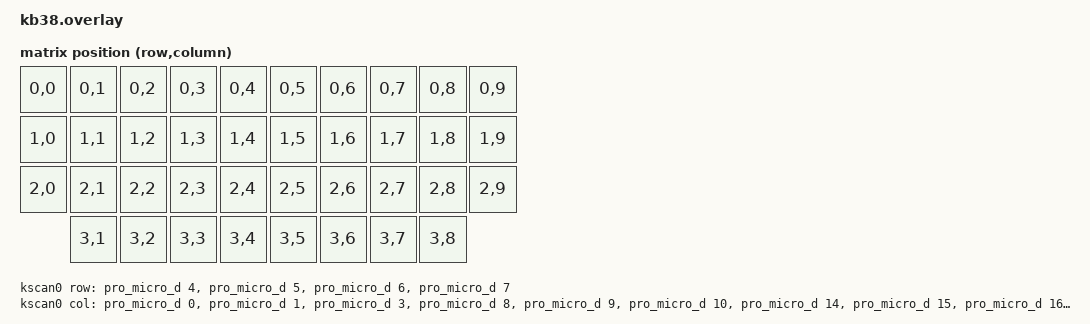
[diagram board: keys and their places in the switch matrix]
/*
 * KB38 device tree overlay
 *
 * Matrix: 4 rows x 10 cols (38 keys), col-to-row diode direction
 * Trackpad: Cirque TM035035 via I2C1 (TWIM1)
 *   SDA = P1.15 (D18), SCL = P0.02 (D19), DR = P0.17 (D2)
 */

#include <dt-bindings/zmk/matrix_transform.h>
#include <dt-bindings/zmk/input_transform.h>
#include <zephyr/dt-bindings/input/input-event-codes.h>

/ {
    chosen {
        zmk,kscan           = &kscan0;
        zmk,matrix_transform = &default_transform;
    };

    /* ── Trackpad input processing ────────────────────────────────────────── */

    xy_transform: xy_transform {
        compatible = "zmk,input-processor-transform";
        #input-processor-cells = <1>;
        type = <INPUT_EV_REL>;
        x-codes = <INPUT_REL_X>;
        y-codes = <INPUT_REL_Y>;
    };

    scroll_mapper: scroll_mapper {
        compatible = "zmk,input-processor-code-mapper";
        #input-processor-cells = <0>;
        type = <INPUT_EV_REL>;
        map = <INPUT_REL_X INPUT_REL_HWHEEL>
            , <INPUT_REL_Y INPUT_REL_WHEEL>;
    };

    scroll_scaler: scroll_scaler {
        compatible = "zmk,input-processor-scaler";
        #input-processor-cells = <2>;
        type = <INPUT_EV_REL>;
        codes = <INPUT_REL_WHEEL INPUT_REL_HWHEEL>;
    };

    glidepoint_listener {
        compatible = "zmk,input-listener";
        device = <&pinnacle>;
        input-processors = <&xy_transform (INPUT_TRANSFORM_Y_INVERT)>;

        scroll_layer {
            layers = <6>;
            input-processors = <&xy_transform (INPUT_TRANSFORM_Y_INVERT) &scroll_mapper &scroll_scaler 1 10>;
        };
    };

    /* ── Matrix ───────────────────────────────────────────────────────────── */

    default_transform: keymap_transform_0 {
        compatible = "zmk,matrix-transform";
        columns = <10>;
        rows = <4>;
        map = <
            RC(0,0) RC(0,1) RC(0,2) RC(0,3) RC(0,4)  RC(0,5) RC(0,6) RC(0,7) RC(0,8) RC(0,9)
            RC(1,0) RC(1,1) RC(1,2) RC(1,3) RC(1,4)  RC(1,5) RC(1,6) RC(1,7) RC(1,8) RC(1,9)
            RC(2,0) RC(2,1) RC(2,2) RC(2,3) RC(2,4)  RC(2,5) RC(2,6) RC(2,7) RC(2,8) RC(2,9)
                    RC(3,1) RC(3,2) RC(3,3) RC(3,4)  RC(3,5) RC(3,6) RC(3,7) RC(3,8)
        >;
    };

    kscan0: kscan {
        compatible = "zmk,kscan-gpio-matrix";
        diode-direction = "col2row";

        col-gpios
            = <&pro_micro_d 0  GPIO_ACTIVE_HIGH>
            , <&pro_micro_d 1  GPIO_ACTIVE_HIGH>
            , <&pro_micro_d 3  GPIO_ACTIVE_HIGH>
            , <&pro_micro_d 8  GPIO_ACTIVE_HIGH>
            , <&pro_micro_d 9  GPIO_ACTIVE_HIGH>
            , <&pro_micro_d 10 GPIO_ACTIVE_HIGH>
            , <&pro_micro_d 14 GPIO_ACTIVE_HIGH>
            , <&pro_micro_d 15 GPIO_ACTIVE_HIGH>
            , <&pro_micro_d 16 GPIO_ACTIVE_HIGH>
            , <&pro_micro_d 21 GPIO_ACTIVE_HIGH>
            ;

        row-gpios
            = <&pro_micro_d 4 (GPIO_ACTIVE_HIGH | GPIO_PULL_DOWN)>
            , <&pro_micro_d 5 (GPIO_ACTIVE_HIGH | GPIO_PULL_DOWN)>
            , <&pro_micro_d 6 (GPIO_ACTIVE_HIGH | GPIO_PULL_DOWN)>
            , <&pro_micro_d 7 (GPIO_ACTIVE_HIGH | GPIO_PULL_DOWN)>
            ;
    };
};

/* I2C0 pins conflict with matrix — disable */
&pro_micro_i2c {
    status = "disabled";
};

/* SPIM1 shares hardware with TWIM1 on nRF52840 */
&spi1 {
    status = "disabled";
};

&i2c1 {
    status = "okay";
    pinctrl-0 = <&i2c1_default>;
    pinctrl-1 = <&i2c1_sleep>;
    pinctrl-names = "default", "sleep";
    clock-frequency = <I2C_BITRATE_STANDARD>;

    pinnacle: pinnacle@2a {
        compatible = "cirque,pinnacle";
        reg = <0x2a>;
        status = "okay";
        sensitivity = "2x";
        sleep-mode-enable;
        data-ready-gpios = <&gpio0 17 GPIO_ACTIVE_HIGH>;
    };
};

&pinctrl {
    i2c1_default: i2c1_default {
        group1 {
            psels = <NRF_PSEL(TWIM_SDA, 1, 15)>,
                    <NRF_PSEL(TWIM_SCL, 0, 2)>;
            bias-pull-up;
        };
    };

    i2c1_sleep: i2c1_sleep {
        group1 {
            psels = <NRF_PSEL(TWIM_SDA, 1, 15)>,
                    <NRF_PSEL(TWIM_SCL, 0, 2)>;
            low-power-enable;
        };
    };
};
